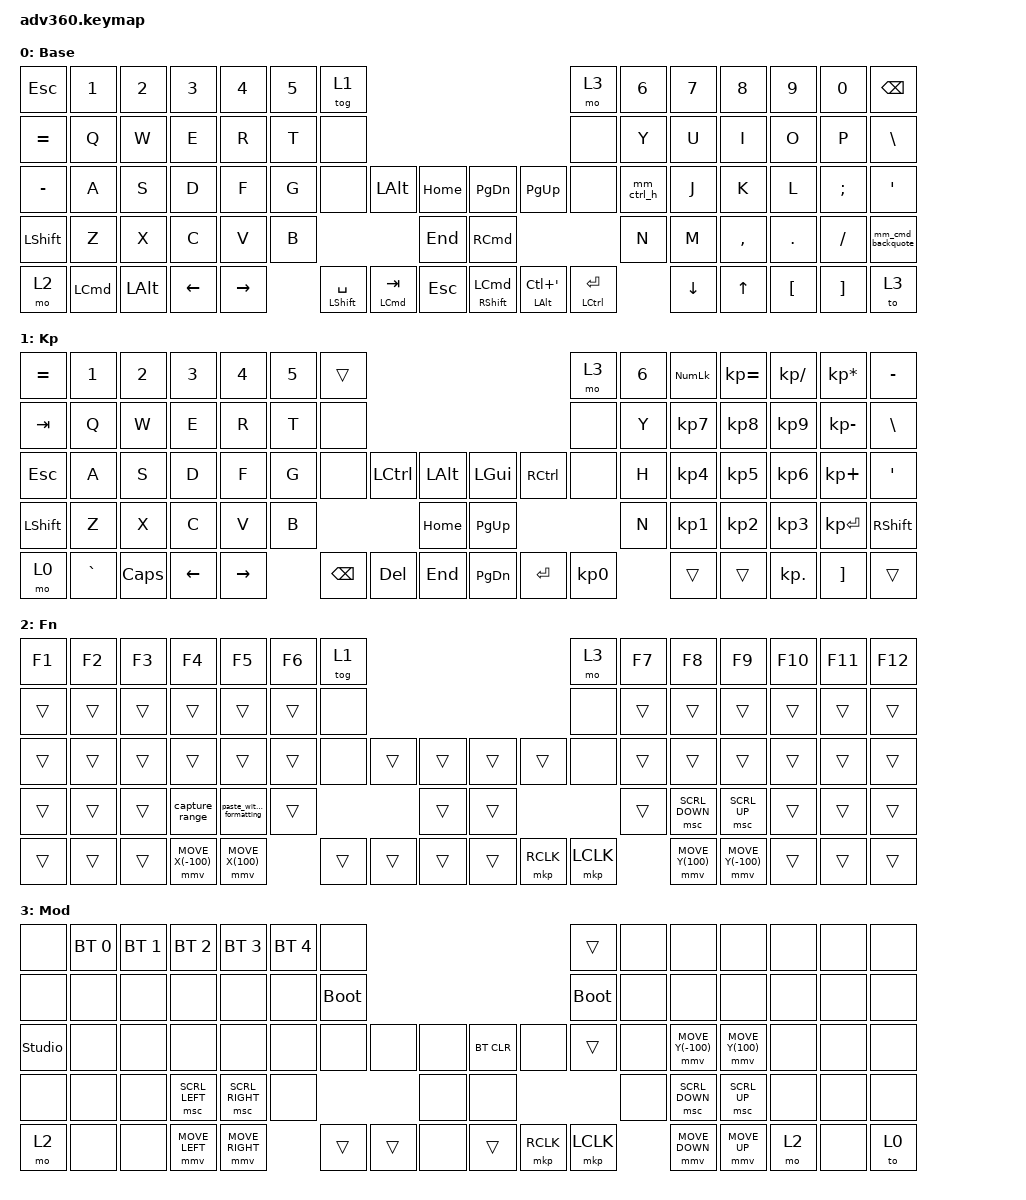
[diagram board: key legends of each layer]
#include <dt-bindings/zmk/stp.h>
#include <behaviors.dtsi>
#include <dt-bindings/zmk/bt.h>
#include <dt-bindings/zmk/keys.h>
#include <dt-bindings/zmk/pointing.h>

/ {
    behaviors {
        #include "macros.dtsi"
      #include "version.dtsi"

        hm: homerow_mods {
            compatible = "zmk,behavior-hold-tap";
            label = "HOMEROW_MODS";
            #binding-cells = <2>;
            tapping-term-ms = <200>;
            quick_tap_ms = <175>;
            flavor = "tap-preferred";
            bindings = <&kp>, <&kp>;
        };

        mm_ctrl_h: mm_ctrl_h {
            compatible = "zmk,behavior-mod-morph";
            label = "MM_CTRL_H";
            bindings = <&kp H>, <&kp BACKSPACE>;

            #binding-cells = <0>;
            mods = <(MOD_LCTL)>;
        };

        mm_cmd_backquote: mm_cmd_backquote {
            compatible = "zmk,behavior-mod-morph";
            label = "MM_CMD_BACKQUOTE";
            bindings = <&kp GRAVE>, <&three_backquotes>;

            #binding-cells = <0>;
            mods = <(MOD_LGUI)>;
        };

        mm_ctrl_w: mm_ctrl_w {
            compatible = "zmk,behavior-mod-morph";
            label = "MM_CTRL_W";
            bindings = <&kp W>, <&cut_word>;

            #binding-cells = <0>;
            mods = <(MOD_LCTL)>;
        };
    };

    macros {
        three_backquotes: three_backquotes {
            compatible = "zmk,behavior-macro";
            #binding-cells = <0>;
            bindings = <&kp GRAVE &kp GRAVE &kp GRAVE>;
            label = "THREE_BACKQUOTES";
        };

        paste_without_formatting: paste_without_style {
            compatible = "zmk,behavior-macro";
            #binding-cells = <0>;
            bindings = <&kp LG(LS(V))>;
            label = "PASTE_WITHOUT_STYLE";
        };

        capture_range: capture_image {
            compatible = "zmk,behavior-macro";
            #binding-cells = <0>;
            bindings = <&kp LS(LG(NUMBER_4))>;
            label = "CAPTURE_IMAGE";
        };

        cut_word: cut_word {
            compatible = "zmk,behavior-macro";
            #binding-cells = <0>;
            bindings = <&kp LS(LA(LEFT_ARROW)) &kp LG(X)>;
            label = "CUT_WORD";
        };
    };

    combos {
        compatible = "zmk,combos";

        ctrl_w {
            bindings = <&cut_word>;
            key-positions = <16 70>;
        };
    };

    keymap {
        compatible = "zmk,keymap";

        default_layer {
            display-name = "Base";
            bindings = <
&kp ESC    &kp N1    &kp N2        &kp N3    &kp N4     &kp N5  &tog 1                                                                                       &mo 3            &kp N6      &kp N7    &kp N8     &kp N9    &kp N0    &kp BACKSPACE
&kp EQUAL  &kp Q     &kp W         &kp E     &kp R      &kp T   &none                                                                                        &none            &kp Y       &kp U     &kp I      &kp O     &kp P     &kp BSLH
&kp MINUS  &kp A     &kp S         &kp D     &kp F      &kp G   &none             &kp LEFT_ALT  &kp HOME      &kp PAGE_DOWN   &kp PAGE_UP                    &none            &mm_ctrl_h  &kp J     &kp K      &kp L     &kp SEMI  &kp SQT
&kp LSHFT  &kp Z     &kp X         &kp C     &kp V      &kp B                                   &kp END       &kp RCMD                                                        &kp N       &kp M     &kp COMMA  &kp DOT   &kp FSLH  &mm_cmd_backquote
&mo 2      &kp LCMD  &kp LEFT_ALT  &kp LEFT  &kp RIGHT          &mt LSHIFT SPACE  &mt LCMD TAB  &kp ESC       &mt RSHFT LCMD  &mt LEFT_ALT LC(SINGLE_QUOTE)  &mt LCTRL ENTER              &kp DOWN  &kp UP     &kp LBKT  &kp RBKT  &to 3
            >;
        };

        keypad {
            display-name = "Kp";
            bindings = <
&kp EQUAL  &kp N1     &kp N2    &kp N3    &kp N4     &kp N5  &trans                                                   &mo 3      &kp N6  &kp KP_NUM  &kp KP_EQUAL  &kp KP_DIVIDE  &kp KP_MULTIPLY  &kp MINUS
&kp TAB    &kp Q      &kp W     &kp E     &kp R      &kp T   &none                                                    &none      &kp Y   &kp KP_N7   &kp KP_N8     &kp KP_N9      &kp KP_MINUS     &kp BSLH
&kp ESC    &kp A      &kp S     &kp D     &kp F      &kp G   &none     &kp LCTRL  &kp LALT      &kp LGUI   &kp RCTRL  &none      &kp H   &kp KP_N4   &kp KP_N5     &kp KP_N6      &kp KP_PLUS      &kp SQT
&kp LSHFT  &kp Z      &kp X     &kp C     &kp V      &kp B                        &kp HOME      &kp PG_UP                        &kp N   &kp KP_N1   &kp KP_N2     &kp KP_N3      &kp KP_ENTER     &kp RSHFT
&mo 0      &kp GRAVE  &kp CAPS  &kp LEFT  &kp RIGHT          &kp BSPC  &kp DEL    &kp END       &kp PG_DN  &kp ENTER  &kp KP_N0          &trans      &trans        &kp KP_DOT     &kp RBKT         &trans
            >;
        };

        fn {
            display-name = "Fn";
            bindings = <
&kp F1  &kp F2  &kp F3  &kp F4             &kp F5                     &kp F6  &tog 1                                         &mo 3      &kp F7  &kp F8            &kp F9             &kp F10  &kp F11  &kp F12
&trans  &trans  &trans  &trans             &trans                     &trans  &none                                          &none      &trans  &trans            &trans             &trans   &trans   &trans
&trans  &trans  &trans  &trans             &trans                     &trans  &none   &trans  &trans      &trans  &trans     &none      &trans  &trans            &trans             &trans   &trans   &trans
&trans  &trans  &trans  &capture_range     &paste_without_formatting  &trans                  &trans      &trans                        &trans  &msc SCRL_DOWN    &msc SCRL_UP       &trans   &trans   &trans
&trans  &trans  &trans  &mmv MOVE_X(-100)  &mmv MOVE_X(100)                   &trans  &trans  &trans      &trans  &mkp RCLK  &mkp LCLK          &mmv MOVE_Y(100)  &mmv MOVE_Y(-100)  &trans   &trans   &trans
            >;
        };

        mod {
            display-name = "Mod";
            bindings = <
&none           &bt BT_SEL 0  &bt BT_SEL 1  &bt BT_SEL 2    &bt BT_SEL 3     &bt BT_SEL 4  &none                                                  &trans       &none  &none              &none             &none  &none  &none
&none           &none         &none         &none           &none            &none         &bootloader                                            &bootloader  &none  &none              &none             &none  &none  &none
&studio_unlock  &none         &none         &none           &none            &none         &none        &none   &none      &bt BT_CLR  &none      &trans       &none  &mmv MOVE_Y(-100)  &mmv MOVE_Y(100)  &none  &none  &none
&none           &none         &none         &msc SCRL_LEFT  &msc SCRL_RIGHT  &none                              &none      &none                               &none  &msc SCRL_DOWN     &msc SCRL_UP      &none  &none  &none
&mo 2           &none         &none         &mmv MOVE_LEFT  &mmv MOVE_RIGHT                &trans       &trans  &none      &trans      &mkp RCLK  &mkp LCLK           &mmv MOVE_DOWN     &mmv MOVE_UP      &mo 2  &none  &to 0
            >;
        };

        extra1 {
            display-name = "Red";
            status = "reserved";
        };

        extra2 {
            display-name = "Purple";
            status = "reserved";
        };

        extra3 {
            display-name = "Cyan";
            status = "reserved";
        };

        extra4 {
            display-name = "Yellow";
            status = "reserved";
        };
    };
};
